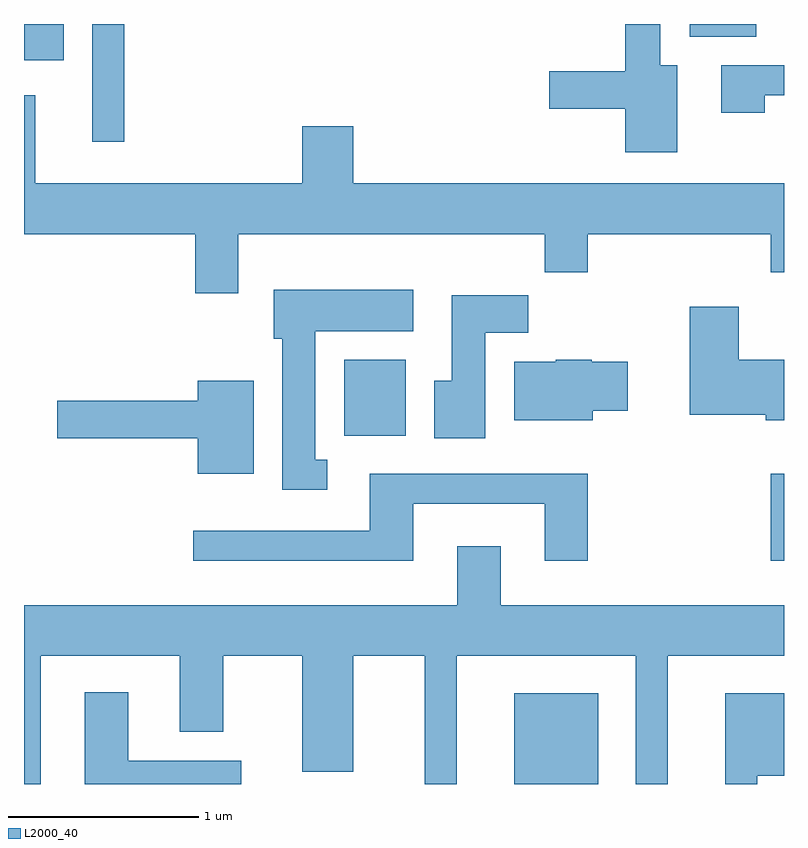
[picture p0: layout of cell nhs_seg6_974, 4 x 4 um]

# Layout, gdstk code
import gdstk
lib = gdstk.Library(unit=1e-6, precision=1e-09)
def R(c, l, rs):  # rectangles x0, y0, x1, y1
    for r in rs: c.add(gdstk.rectangle(r[:2], r[2:], *l))
def P(c, l, *ps):  # polygons
    for p in ps: c.add(gdstk.Polygon(p, *l))
L2000_40 = (2000, 40)

nhs_seg6_974 = lib.new_cell('nhs_seg6_974')
R(nhs_seg6_974, L2000_40, [(216.191,1638.162,216.634,1638.639), (217.541,1639.336,217.611,1639.794), (215.296,1639.996,215.619,1640.394), (213.971,1641.543,214.139,1642.162), (213.611,1641.971,213.819,1642.162), (217.116,1642.096,217.464,1642.162)])
P(nhs_seg6_974, L2000_40, [(217.049,1641.944),(216.959,1641.944),(216.959,1642.162),(216.776,1642.162),(216.776,1641.914),(216.376,1641.914),(216.376,1641.716),(216.776,1641.716),(216.776,1641.486),(217.049,1641.486)],
  [(217.509,1641.786),(217.611,1641.786),(217.611,1641.944),(217.281,1641.944),(217.281,1641.696),(217.509,1641.696)],
  [(213.669,1641.788),(213.611,1641.788),(213.611,1641.056),(214.511,1641.056),(214.511,1640.746),(214.739,1640.746),(214.739,1641.056),(216.351,1641.056),(216.351,1640.856),(216.579,1640.856),(216.579,1641.056),(217.541,1641.056),(217.541,1640.856),(217.611,1640.856),(217.611,1641.324),(215.344,1641.324),(215.344,1641.624),(215.076,1641.624),(215.076,1641.324),(213.669,1641.324)],
  [(215.208,1639.869),(215.144,1639.869),(215.144,1640.546),(215.659,1640.546),(215.659,1640.764),(214.926,1640.764),(214.926,1640.506),(214.971,1640.506),(214.971,1639.711),(215.208,1639.711)],
  [(216.039,1640.536),(216.264,1640.536),(216.264,1640.734),(215.861,1640.734),(215.861,1640.284),(215.771,1640.284),(215.771,1639.981),(216.039,1639.981)],
  [(217.611,1640.394),(217.374,1640.394),(217.374,1640.674),(217.116,1640.674),(217.116,1640.106),(217.516,1640.106),(217.516,1640.076),(217.611,1640.076)],
  [(216.604,1640.126),(216.789,1640.126),(216.789,1640.384),(216.6,1640.384),(216.6,1640.394),(216.41,1640.394),(216.41,1640.384),(216.191,1640.384),(216.191,1640.076),(216.604,1640.076)],
  [(214.819,1640.284),(214.526,1640.284),(214.526,1640.179),(213.786,1640.179),(213.786,1639.981),(214.526,1639.981),(214.526,1639.796),(214.819,1639.796)],
  [(215.659,1639.636),(216.351,1639.636),(216.351,1639.336),(216.579,1639.336),(216.579,1639.794),(215.431,1639.794),(215.431,1639.494),(214.503,1639.494),(214.503,1639.336),(215.659,1639.336)],
  [(213.699,1638.836),(214.431,1638.836),(214.431,1638.436),(214.659,1638.436),(214.659,1638.836),(215.076,1638.836),(215.076,1638.226),(215.344,1638.226),(215.344,1638.836),(215.721,1638.836),(215.721,1638.162),(215.889,1638.162),(215.889,1638.836),(216.831,1638.836),(216.831,1638.162),(216.999,1638.162),(216.999,1638.836),(217.611,1638.836),(217.611,1639.104),(216.119,1639.104),(216.119,1639.414),(215.891,1639.414),(215.891,1639.104),(213.611,1639.104),(213.611,1638.162),(213.699,1638.162)],
  [(214.754,1638.284),(214.159,1638.284),(214.159,1638.644),(213.931,1638.644),(213.931,1638.162),(214.754,1638.162)],
  [(217.469,1638.206),(217.611,1638.206),(217.611,1638.639),(217.301,1638.639),(217.301,1638.162),(217.469,1638.162)])

lib.write_gds('nhs_seg6_974.gds')
